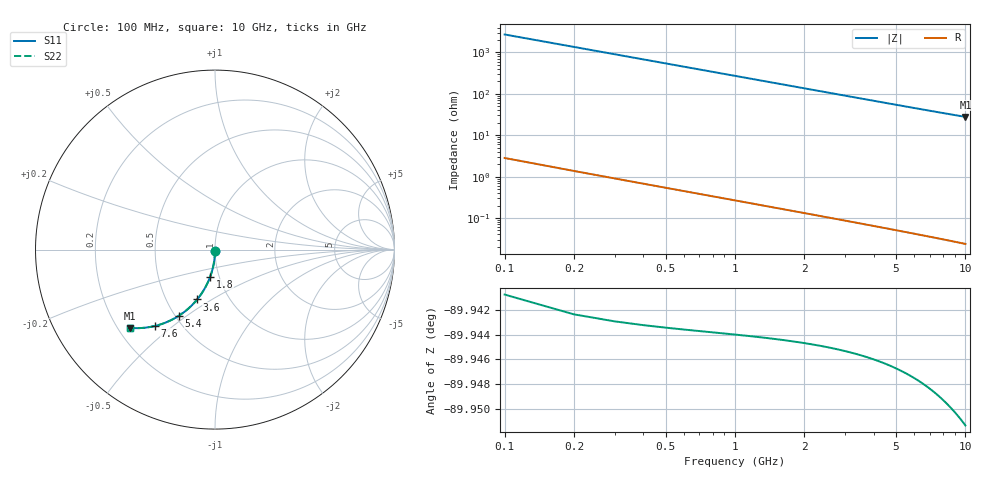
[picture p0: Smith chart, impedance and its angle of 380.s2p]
# Hz S RI R 50.00
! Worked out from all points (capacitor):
!   100 points, 100 MHz to 10 GHz, reference 50 ohm
!   read as one part in shunt: C = 584 fF near 100 MHz
!   lowest |Z| = 27.8 ohm at 10 GHz (marker M1)
!   S11 on the Smith chart (normalised r, x): 100 MHz: 1.00, -0.02; 1.8 GHz: 0.91, -0.28; 3.6 GHz: 0.71, -0.43; 5.4 GHz: 0.52, -0.47; 7.6 GHz: 0.36, -0.43; 10 GHz: 0.25, -0.37
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1e8  3.75e-05 -0.00857  0.9998 -0.00977  0.9998 -0.00977  3.75e-05 -0.00857
2e8  -0.000222 -0.0171  0.9995 -0.0195  0.9995 -0.0195  -0.000222 -0.0171
3e8  -0.000649 -0.0257  0.9991 -0.0293  0.9991 -0.0293  -0.000649 -0.0257
4e8  -0.00124 -0.0343  0.9985 -0.0391  0.9985 -0.0391  -0.00124 -0.0343
5e8  -0.002 -0.0428  0.9977 -0.0488  0.9977 -0.0488  -0.002 -0.0428
6e8  -0.00293 -0.0513  0.9968 -0.0585  0.9968 -0.0585  -0.00293 -0.0513
8e8  -0.00528 -0.0682  0.9944 -0.0779  0.9944 -0.0779  -0.00528 -0.0682
1.1e9  -0.01 -0.0934  0.9896 -0.1066  0.9896 -0.1066  -0.01 -0.0934
1.4e9  -0.0162 -0.1182  0.9834 -0.135  0.9834 -0.135  -0.0162 -0.1182
1.8e9  -0.0266 -0.1503  0.9729 -0.172  0.9729 -0.172  -0.0266 -0.1503
2.1e9  -0.0359 -0.1737  0.9635 -0.199  0.9635 -0.199  -0.0359 -0.1737
2.5e9  -0.0503 -0.2037  0.949 -0.2339  0.949 -0.2339  -0.0503 -0.2037
2.9e9  -0.0667 -0.2322  0.9325 -0.2672  0.9325 -0.2672  -0.0667 -0.2322
3.4e9  -0.0896 -0.2654  0.9092 -0.3065  0.9092 -0.3065  -0.0896 -0.2654
3.6e9  -0.0995 -0.2779  0.8992 -0.3215  0.8992 -0.3215  -0.0995 -0.2779
4.3e9  -0.1367 -0.3178  0.8616 -0.37  0.8616 -0.37  -0.1367 -0.3178
5.1e9  -0.183 -0.356  0.8147 -0.4182  0.8147 -0.4182  -0.183 -0.356
5.4e9  -0.2011 -0.3683  0.7964 -0.4342  0.7964 -0.4342  -0.2011 -0.3683
6.7e9  -0.2812 -0.4088  0.7152 -0.4911  0.7152 -0.4911  -0.2812 -0.4088
7.6e9  -0.3363 -0.4258  0.659 -0.5196  0.659 -0.5196  -0.3363 -0.4258
8.4e9  -0.3837 -0.4344  0.6105 -0.5385  0.6105 -0.5385  -0.3837 -0.4344
1e10  -0.4717 -0.4363  0.5201 -0.5615  0.5201 -0.5615  -0.4717 -0.4363
